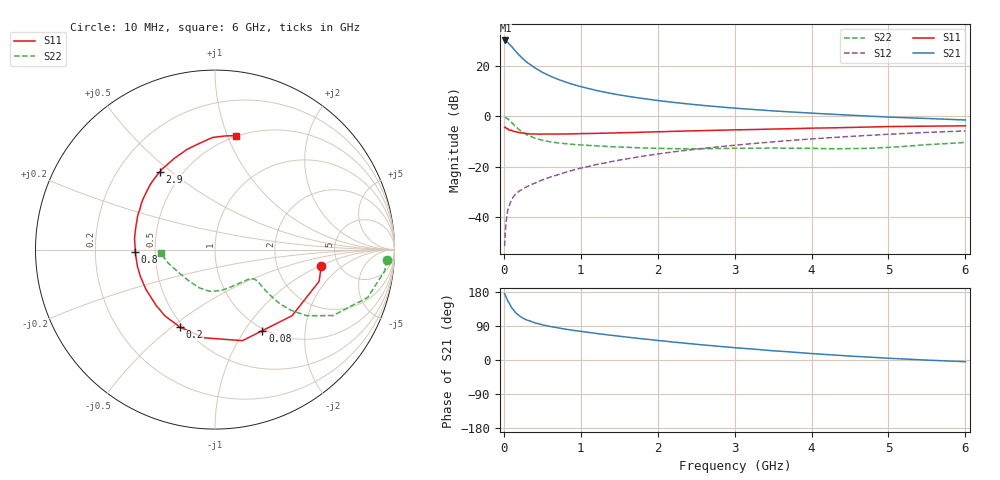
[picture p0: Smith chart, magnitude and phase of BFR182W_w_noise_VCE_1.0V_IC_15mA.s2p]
! (c) 2017  Infineon Technologies AG, Munich
! Infineon Technologies  Discrete & RF Semiconductors
! BFR182W
! VCE =  1.0 V,  IC =  15 mA
! Common Emitter S-Parameters:  Jan 2017
# GHz  S  MA  R  50
!  f  S11  S21  S12  S22
! GHz  MAG  ANG  MAG  ANG  MAG  ANG  MAG  ANG
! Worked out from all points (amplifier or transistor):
!   77 points, 10 MHz to 6 GHz, reference 50 ohm
!   highest |S21| = 30.2 dB at 20 MHz (marker M1)
!   |S21| within 3 dB of that: start of sweep to 117.9 MHz
!   unconditionally stable (mu >= 1): 614.6 MHz to 2.861 GHz
!   at 130 MHz: K = 0.42, MSG = 29.3 dB, |S12| = -31.8 dB
!   at 2.2 GHz: K = 1.05, MAG = 8.5 dB, |S12| = -14.2 dB
!   at 6 GHz: K = 0.92, MSG = 2.2 dB, |S12| = -5.8 dB
!   lowest NFmin = 1.25 dB at 450 MHz
!   S11 on the Smith chart (normalised r, x): 10 MHz: 3.68, -1.03; 80 MHz: 0.97, -1.21; 200 MHz: 0.48, -0.54; 800 MHz: 0.38, -0.01; 2.9 GHz: 0.38, +0.46; 6 GHz: 0.49, +1.07
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0.01  0.5987 -8.6  32.01 175.0  0.0026 84.5  0.9602 -3.5
0.02  0.6066 -16.9  32.26 170.2  0.0053 89.2  0.9521 -7.3
0.05  0.5658 -40.6  29.68 156.3  0.0132 73.9  0.8914 -17.4
0.08  0.523 -59.7  26.32 146.2  0.0183 66.8  0.8044 -24.0
0.1  0.5299 -73.2  24.64 138.1  0.0218 63.9  0.7535 -29.2
0.15  0.4952 -97.0  19.94 125.5  0.0282 58.7  0.6293 -35.8
0.2  0.4739 -114.2  16.41 116.8  0.0324 57.1  0.5395 -38.7
0.25  0.4629 -127.0  13.83 110.1  0.0361 56.8  0.4748 -39.8
0.3  0.4522 -136.4  11.86 105.5  0.0399 56.9  0.4273 -39.9
0.4  0.4441 -150.2  9.229 98.2  0.0464 59.0  0.3681 -39.1
0.5  0.4418 -160.0  7.502 92.9  0.0541 60.5  0.3334 -38.1
0.6  0.4422 -167.6  6.333 88.6  0.0613 62.3  0.3106 -37.2
0.7  0.4418 -173.4  5.464 84.9  0.0684 64.0  0.2956 -36.6
0.8  0.4451 -178.5  4.817 81.4  0.0766 65.5  0.2846 -36.6
1.1  0.454 169.3  3.563 72.9  0.1006 66.5  0.2633 -38.3
1.5  0.4692 156.9  2.663 62.8  0.1342 66.2  0.2444 -43.9
2.1  0.4956 141.6  1.974 49.6  0.1862 63.4  0.2284 -58.1
2.9  0.5319 125.2  1.494 34.3  0.2563 57.6  0.2292 -81.3
3.1  0.5398 121.3  1.415 30.9  0.274 55.8  0.2301 -86.8
4.1  0.5831 104.0  1.132 15.7  0.3627 46.5  0.2281 -115.1
5.1  0.6263 90.0  0.951 3.7  0.4457 36.0  0.2452 -152.0
6  0.6461 79.5  0.844 -4.6  0.5118 26.3  0.302 -176.2
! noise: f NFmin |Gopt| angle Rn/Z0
0.45  1.25  0.04  146  0.15
0.9  1.33  0.05  146  0.15
1.9  1.82  0.24  -148  0.15
2.4  2.07  0.24  -133  0.22
